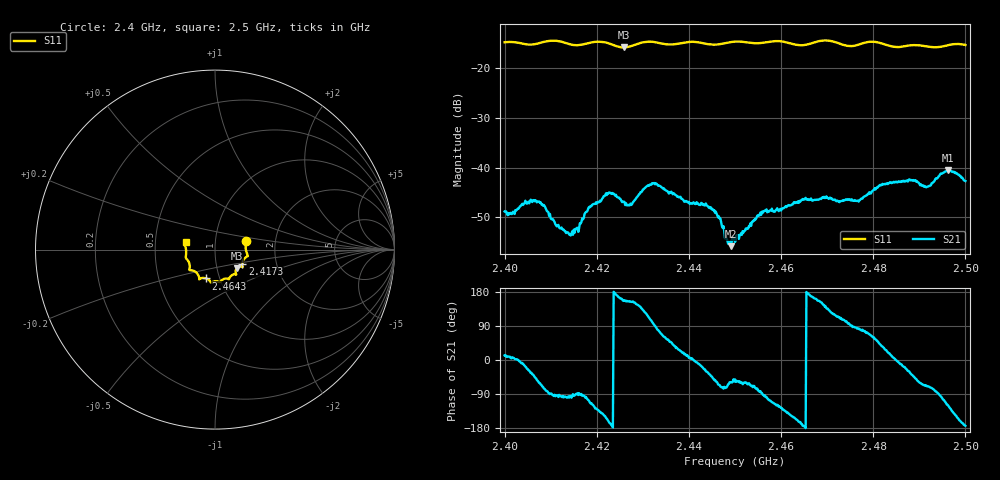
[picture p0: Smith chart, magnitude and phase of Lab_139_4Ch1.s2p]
# Hz S RI R 50
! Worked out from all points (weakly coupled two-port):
!   601 points, 2.4 GHz to 2.5 GHz, reference 50 ohm
!   highest |S21| = -40.58 dB at 2.4962 GHz (marker M1); lowest = -55.8 dB at 2.4492 GHz (marker M2)
!   lowest |S11| = -15.9 dB at 2.4258 GHz (marker M3), VSWR 1.38, Z = 62.3 - j13.2 ohm
!   |S11| at or under -10 dB: start of sweep to end of sweep
!   S12 and S22 are empty: the file has one direction only
!   S11 on the Smith chart (normalised r, x): 2.4 GHz: 1.41, +0.14; 2.4173 GHz: 1.34, -0.23; 2.4643 GHz: 0.86, -0.28; 2.5 GHz: 0.72, +0.06
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2.4e9  0.1735 0.0487  0.00355 0.000762  0 0  0 0
2.406167e9  0.1713 -0.000221  0.00368 -0.00293  0 0  0 0
2.413833e9  0.1678 -0.0459  -0.00023 -0.00221  0 0  0 0
2.416667e9  0.1529 -0.0747  1.66e-05 -0.00285  0 0  0 0
2.417333e9  0.152 -0.0821  -0.000322 -0.00339  0 0  0 0
2.4225e9  0.1488 -0.0948  -0.00518 -0.00181  0 0  0 0
2.425833e9  0.1215 -0.1037  -0.00416 0.00185  0 0  0 0
2.427167e9  0.1156 -0.1156  -0.00381 0.00175  0 0  0 0
2.430667e9  0.1183 -0.1382  -0.00351 0.00533  0 0  0 0
2.433333e9  0.1129 -0.1374  0.00127 0.00644  0 0  0 0
2.445e9  0.0554 -0.1616  0.00273 -0.00264  0 0  0 0
2.448333e9  0.0335 -0.175  0.000673 -0.00174  0 0  0 0
2.449167e9  0.031 -0.1784  0.000843 -0.0014  0 0  0 0
2.45e9  0.0288 -0.1808  0.00113 -0.0014  0 0  0 0
2.456333e9  -0.00911 -0.1788  -0.000339 -0.00364  0 0  0 0
2.464333e9  -0.0502 -0.1604  -0.0046 -0.000963  0 0  0 0
2.466667e9  -0.0761 -0.1589  -0.00458 0.001  0 0  0 0
2.476667e9  -0.1228 -0.1169  0.00057 0.00463  0 0  0 0
2.483333e9  -0.1407 -0.09  0.00662 0.00218  0 0  0 0
2.491833e9  -0.1609 -0.0271  0.00231 -0.00603  0 0  0 0
2.496167e9  -0.1668 0.0206  -0.00446 -0.00823  0 0  0 0
2.5e9  -0.164 0.0421  -0.00729 -0.00081  0 0  0 0
